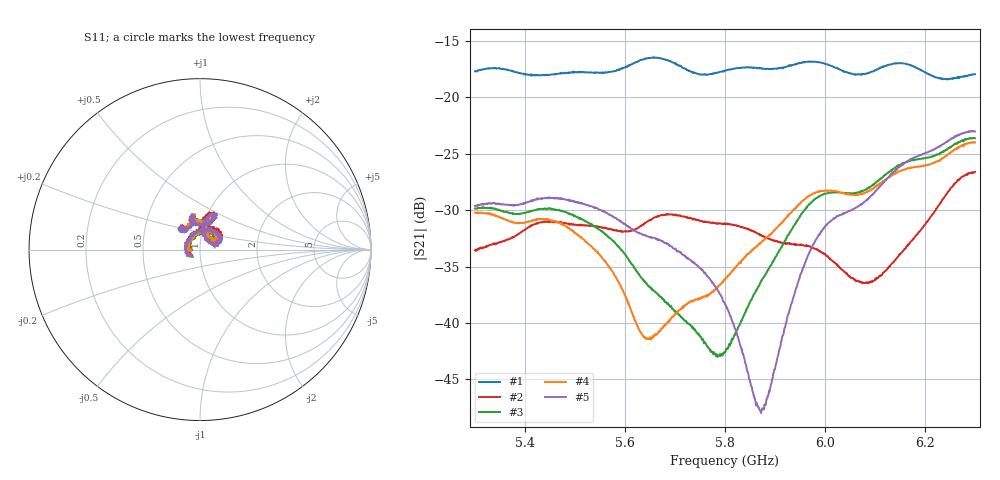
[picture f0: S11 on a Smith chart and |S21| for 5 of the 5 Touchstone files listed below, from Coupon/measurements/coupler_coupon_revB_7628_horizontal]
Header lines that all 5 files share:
! NanoVNA-App
! Start: 5,3GHz Stop: 6,3GHz Points: 1001
! S-Parameter data: F S11 S21 S12 S22
# Hz S RI R 50
!  Frequency  S11_Real  S11_Imag  S21_Real  S21_Imag  S12_Real  S12_Imag  S22_Real  S22_Imag
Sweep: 5.3 GHz to 6.3 GHz
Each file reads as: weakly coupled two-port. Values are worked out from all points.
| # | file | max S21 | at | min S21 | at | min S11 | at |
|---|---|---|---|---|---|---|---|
| 1 | S31_(loads_2a_4b).s2p | -16.44 dB | 5.657 GHz | -18.4 dB | 6.245 GHz | -24.8 dB | 6.293 GHz |
| 2 | S41_(loads_2a_3b)_2.s2p | -26.60 dB | 6.3 GHz | -36.5 dB | 6.086 GHz | -25.1 dB | 6.3 GHz |
| 3 | S41_(loads_2a_3c-not-tightened-fully).s2p | -23.59 dB | 6.298 GHz | -43.0 dB | 5.785 GHz | -26.9 dB | 6.3 GHz |
| 4 | S41_(loads_2a_3c-tightened-fully).s2p | -23.97 dB | 6.299 GHz | -41.5 dB | 5.652 GHz | -26.1 dB | 6.3 GHz |
| 5 | S41_(loads_2a_3c-tightened-fully)_3.s2p | -22.98 dB | 6.293 GHz | -48.0 dB | 5.872 GHz | -24.4 dB | 6.299 GHz |
